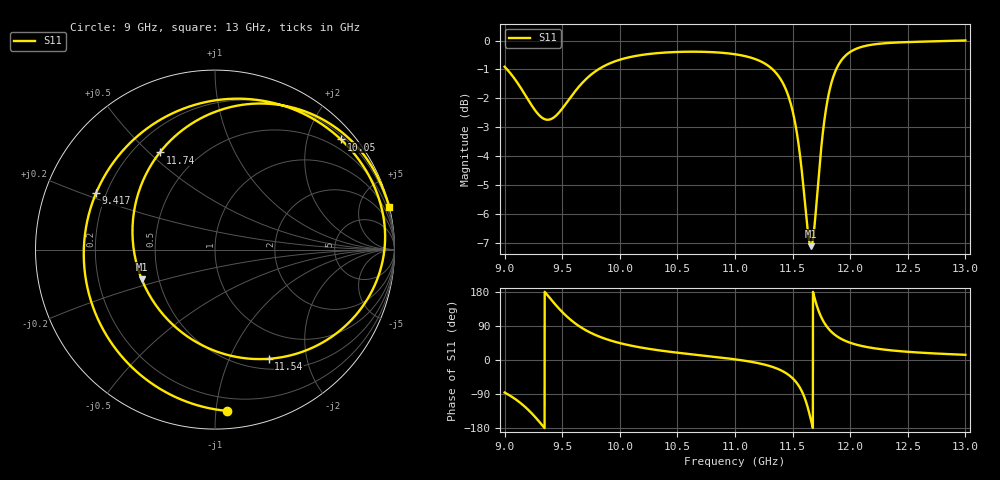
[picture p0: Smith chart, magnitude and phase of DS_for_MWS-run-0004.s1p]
! TOUCHSTONE file generated by CST DESIGN STUDIO
! Date and time: Tue Feb  4 15:38:47 2025
! Project name: C:\Work\MatlabApps\UnitCellOptimizationMatlab\CST\unitcell.cst
! Tree item: Tasks\Sweep1\SPara1\S-Parameters
! Header version: 2024
! Port assignment regex: !\s*Touchstone port\s*([0-9]+)\s*=\s*(CST MWS port|CST DES external port|CST DES block port)\s*(.+)\s* \(\"(.*)\"\)(\s*mode\s*([0-9]+))?.*
! Touchstone port assignment:
! Touchstone port 1 = CST DES external port 1 ("")
# GHz S MA R 50
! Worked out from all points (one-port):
!   4001 points, 9 GHz to 13 GHz, reference 50 ohm
!   lowest |S11| = -7.1 dB at 11.66 GHz (marker M1), VSWR 2.57, Z = 20.1 - j8.29 ohm
!   |S11| at or under -10 dB: nowhere
!   S11 on the Smith chart (normalised r, x): 9 GHz: 0.11, -1.07; 9.417 GHz: 0.16, +0.22; 10.05 GHz: 0.28, +2.63; 11.54 GHz: 0.63, -1.41; 11.74 GHz: 0.31, +0.54; 13 GHz: -0.02, +8.34
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9  0.9009 -85.8
9.102  0.8502 -105.2
9.193  0.7964 -128.0
9.312  0.7387 -166.8
9.417  0.7337 154.6
9.5  0.7623 126.7
9.584  0.8032 103.4
9.679  0.8466 83.1
9.828  0.8951 61.0
10  0.9265 44.6
10.047  0.9321 41.2
10.5  0.9556 19.3
11  0.9469 1.7
11.33  0.8902 -18.7
11.426  0.8361 -31.5
11.5  0.7554 -48.2
11.544  0.6779 -63.8
11.604  0.5319 -99.5
11.659  0.4405 -157.8
11.697  0.4941 156.6
11.739  0.6225 119.6
11.779  0.7357 96.2
11.826  0.8287 77.7
11.904  0.9119 58.8
12  0.9558 45.5
12.188  0.9837 31.9
12.5  0.994 21.6
13  1 13.7
